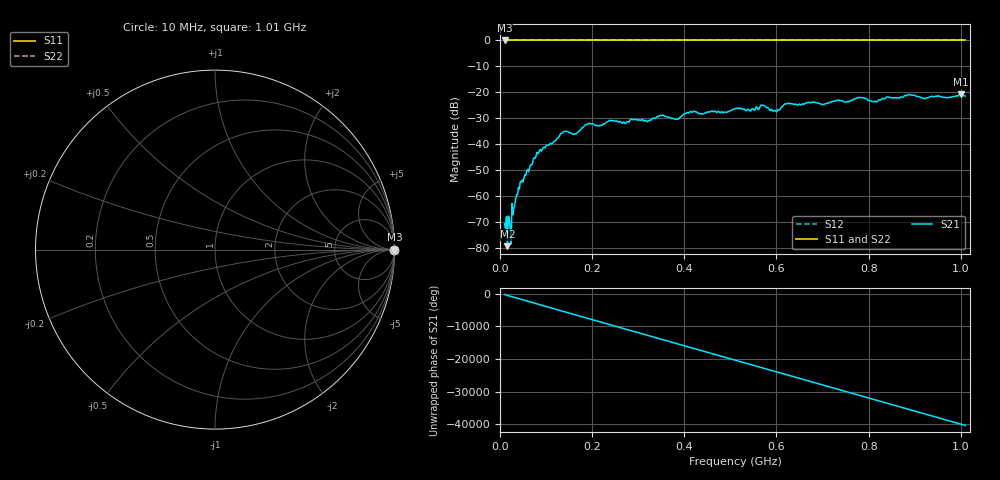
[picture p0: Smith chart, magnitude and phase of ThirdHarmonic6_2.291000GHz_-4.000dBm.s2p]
! 8/17/2025 3:02:23 AM
! C:\ANRITSUVNA\TEMP\TEMP.S2P
! CHANNEL.1
! TR.MEASUREMENT
! RAW.DATA
! RF.CORRECTION.OFF
! AVERAGING.OFF
! IF.BANDWIDTH: 5KHZ
! SWEEPTYPE:  FREQ.SWEEP(Linear)
! Reference Plane Port Info
! PORT:  PORT1  PORT2
! DISTANCE:  0  m  0  m
! TIME:  0  s  0  s
! PHASE.OFFSET:  0  deg.  0  deg.
! LOSS:  0  dB  0  dB
! REF.LOSS:  0  dB  0  dB
! REF.FREQ:  0  Hz  0  Hz
! Power Info
! POWER:  -20  dBm  -20  dBm
! EFF.POWER:  -20  dBm  -20  dBm
! SOURCE.ATTEN:  0  dB  0  dB
! TEST.ATTEN:  0  dB  0  dB
# GHZ S RI R 50.0
! FREQ.GHZ  S11RE  S11IM  S21RE  S21IM  S12RE  S12IM  S22RE  S22IM
!; PortSelection: Port_12
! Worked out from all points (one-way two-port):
!   501 points, 10 MHz to 1.01 GHz, reference 50 ohm
!   highest |S21| = -20.84 dB at 1 GHz (marker M1); lowest = -79.4 dB at 16 MHz (marker M2)
!   lowest |S11| = 0.0 dB at 10 MHz (marker M3)
!   |S11| at or under -10 dB: nowhere
!   |S22| runs from 0.0 to 0.0 dB; largest |S21 - S12| = 1.1
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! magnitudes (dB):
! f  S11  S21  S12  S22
! 10 MHz  0.0  -70.8  0.0  0.0
! 16 MHz  0.0  -79.4  0.0  0.0
! 20 MHz  0.0  -68.4  0.0  0.0
! 22 MHz  0.0  -72.9  0.0  0.0
! 26 MHz  0.0  -62.9  0.0  0.0
! 30 MHz  0.0  -64.9  0.0  0.0
! 44 MHz  0.0  -54.5  0.0  0.0
! 84 MHz  0.0  -43.5  0.0  0.0
! 136 MHz  0.0  -35.6  0.0  0.0
! 162 MHz  0.0  -36.0  0.0  0.0
! 178 MHz  0.0  -33.8  0.0  0.0
! 344 MHz  0.0  -29.4  0.0  0.0
! 384 MHz  0.0  -30.4  0.0  0.0
! 416 MHz  0.0  -27.7  0.0  0.0
! 510 MHz  0.0  -26.3  0.0  0.0
! 570 MHz  0.0  -24.9  0.0  0.0
! 596 MHz  0.0  -27.0  0.0  0.0
! 622 MHz  0.0  -24.4  0.0  0.0
! 678 MHz  0.0  -23.7  0.0  0.0
! 844 MHz  0.0  -22.0  0.0  0.0
! 1 GHz  0.0  -20.8  0.0  0.0
! 1.01 GHz  0.0  -21.5  0.0  0.0
